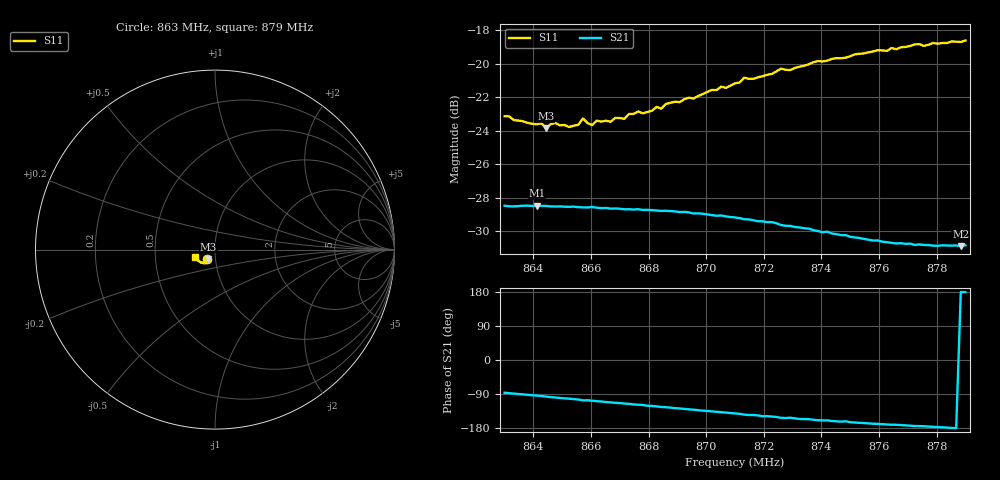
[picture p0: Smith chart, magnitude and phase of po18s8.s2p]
# HZ S RI R 50
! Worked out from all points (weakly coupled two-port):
!   101 points, 863 MHz to 879 MHz, reference 50 ohm
!   highest |S21| = -28.45 dB at 864.12 MHz (marker M1); lowest = -30.9 dB at 878.84 MHz (marker M2)
!   lowest |S11| = -23.8 dB at 864.44 MHz (marker M3), VSWR 1.14, Z = 46.2 - j4.89 ohm
!   |S11| at or under -10 dB: start of sweep to end of sweep
!   S12 and S22 are empty: the file has one direction only
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8.63e8  -0.0448 -0.0535  0.00245 -0.0377  0 0  0 0
8.6412e8  -0.0393 -0.0531  -0.00261 -0.0377  0 0  0 0
8.6428e8  -0.0375 -0.055  -0.00317 -0.0376  0 0  0 0
8.6444e8  -0.0367 -0.0527  -0.00431 -0.0374  0 0  0 0
8.6476e8  -0.0387 -0.0542  -0.00576 -0.0371  0 0  0 0
8.6524e8  -0.0362 -0.0538  -0.00782 -0.0366  0 0  0 0
8.6556e8  -0.0349 -0.0558  -0.00918 -0.0362  0 0  0 0
8.6572e8  -0.0378 -0.0575  -0.0106 -0.0358  0 0  0 0
8.6604e8  -0.0336 -0.0564  -0.0111 -0.0357  0 0  0 0
8.662e8  -0.0353 -0.0578  -0.0119 -0.0353  0 0  0 0
8.6668e8  -0.0337 -0.0581  -0.0137 -0.0343  0 0  0 0
8.6764e8  -0.0357 -0.0627  -0.0174 -0.0325  0 0  0 0
8.6844e8  -0.0355 -0.0644  -0.0203 -0.0303  0 0  0 0
8.686e8  -0.0364 -0.0667  -0.0207 -0.03  0 0  0 0
8.6956e8  -0.0399 -0.068  -0.0235 -0.0269  0 0  0 0
8.71e8  -0.0477 -0.0734  -0.027 -0.022  0 0  0 0
8.7132e8  -0.0509 -0.0755  -0.0279 -0.0201  0 0  0 0
8.7164e8  -0.0506 -0.0748  -0.028 -0.0195  0 0  0 0
8.7372e8  -0.0676 -0.0752  -0.0295 -0.0121  0 0  0 0
8.7644e8  -0.0929 -0.0619  -0.0289 -0.00465  0 0  0 0
8.7884e8  -0.1089 -0.0409  -0.0286 0.000316  0 0  0 0
8.79e8  -0.1106 -0.0399  -0.0287 0.000499  0 0  0 0
